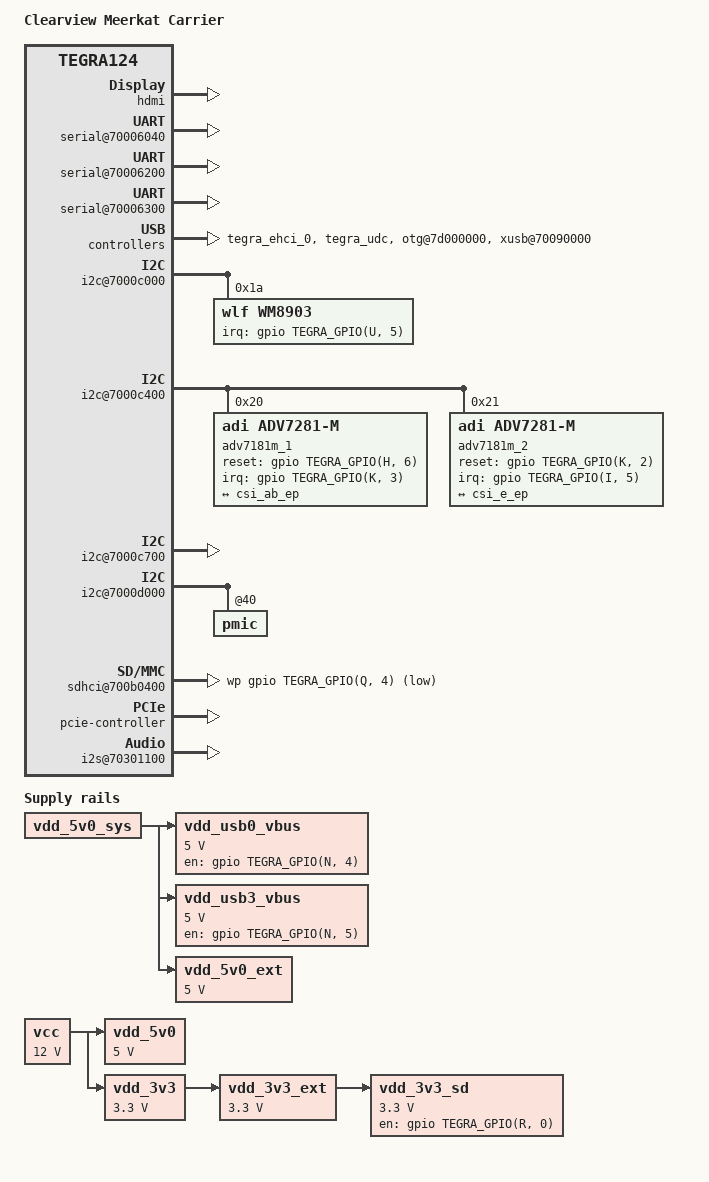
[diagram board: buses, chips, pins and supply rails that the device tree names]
/dts-v1/;

#include "tegra124-meerkat.dtsi"

/ {
	model = "Clearview Meerkat Carrier";
	compatible = "clearview,meerkat-carrier", "ad,meerkat", "nvidia,tegra124";
	nvidia,dtsfilename = __FILE__;

	pinmux {
		common {
			uart3_rxd_pw7 {
				nvidia,tristate = <TEGRA_PIN_DISABLE>;
			};

			uart3_txd_pw6 {
				nvidia,tristate = <TEGRA_PIN_DISABLE>;
			};

			/* I2S */
			dap2_din_pa4 {
				nvidia,tristate = <TEGRA_PIN_DISABLE>;
			};

			dap2_dout_pa5 {
				nvidia,tristate = <TEGRA_PIN_DISABLE>;
			};

			dap2_fs_pa2 {
				nvidia,tristate = <TEGRA_PIN_DISABLE>;
			};

			dap2_sclk_pa3 {
				nvidia,tristate = <TEGRA_PIN_DISABLE>;
			};

			/* IRQ for the ADV */
			pk3 {
				nvidia,tristate = <TEGRA_PIN_DISABLE>;
			};

			pi5 {
				nvidia,tristate = <TEGRA_PIN_DISABLE>;
			};
		};
	};

	host1x {
		vi {
			port@0 {
				csi_ab_ep: endpoint@0 {
					remote-endpoint = <&adv7181m_1_ep>;
				};
			};

			port@1 {
				csi_cd_ep: endpoint@0 {
					remote-endpoint = <&cam_csi>;
				};
			};

			port@2 {
				csi_e_ep: endpoint@0 {
					remote-endpoint = <&adv7181m_2_ep>;
				};
			};
		};

		dc@54200000 {
			status = "okay";

			nvidia,dc-connection = "external-display";
			vdd_hdmi_5v0-supply = <&vdd_5v0>;
		};

		hdmi {
			status = "okay";
		};
	};

	/* UARTB/2: RS232 (using HSUART driver) */
	serial@70006040 {
		compatible = "nvidia,tegra114-hsuart", "nvidia,tegra30-hsuart";
		status = "okay";
	};

	/* UARTC/3: RS422 (using HSUART driver) */
	serial@70006200 {
		compatible = "nvidia,tegra114-hsuart", "nvidia,tegra30-hsuart";
		status = "okay";
	};

	/* UARTD/4: Debug */
	serial@70006300 {
		status = "okay";
	};

	/* Recovery USB */
	tegra_ehci_0: usb@7d000000 {
		status = "okay";
		nvidia,port-otg;

		nvidia,remote-wakeup-supported;
		nvidia,power-off-on-suspend;

		usb_vbus-supply = <&vdd_usb0_vbus>;
	};

	tegra_udc: udc@7d000000 {
		status = "okay";

		usb_vbus-supply = <&vdd_usb0_vbus>;
	};

	otg@7d000000 {
		status = "okay";

		usb_vbus-supply = <&vdd_usb0_vbus>;
	};

	/* USB 3.0 */
	xusb@70090000 {
		status = "okay";
		nvidia,gpio_ss1_sata = <0>;
		nvidia,portmap = <(XUSB_MUX_USB2_P1 | XUSB_MUX_SS_P0)>;
		nvidia,ss_portmap = <XUSB_PADCTL_SS_PORTMAP(P1, DISABLE)>;
		nvidia,lane_owner = <1>; /* PCIe lane0 owner = USB3_SS port0 */
		nvidia,ulpicap = <0>;
		usb_vbus1-supply = <&vdd_usb3_vbus>;
	};

	i2c@7000c000 {
		status = "okay";

		wm8903: wm8903@1a {
			compatible = "wlf,wm8903";
			reg = <0x1a>;
			interrupt-parent = <&gpio>;
			interrupts = <TEGRA_GPIO(U, 5) IRQ_TYPE_LEVEL_HIGH>;

			gpio-controller;
			#gpio-cells = <2>;

			micdet-cfg = <0>;
			micdet-delay = <100>;
		};
	};

	/* GEN2 */
	i2c@7000c400 {
		status = "okay";

		camera@10 {
			compatible = "sony,imx219";
			status = "disabled";
			reg = <0x10>;

			vdd-supply = <&vdd_3v3_ext>;

			reset-gpio = <&gpio TEGRA_GPIO(H, 4) GPIO_ACTIVE_LOW>;

			port {
				cam_csi: endpoint {
					remote-endpoint = <&csi_cd_ep>;
				};
			};
		};

		adv7181m_1: camera@20 {
			compatible = "adi,adv7281-m";
			reg = <0x20 0x40>;

			interrupt-parent = <&gpio>;
			interrupts = <TEGRA_GPIO(K, 3) IRQ_TYPE_LEVEL_LOW>;

			reset-gpio = <&gpio TEGRA_GPIO(H, 6) GPIO_ACTIVE_HIGH>;

			port {
				adv7181m_1_ep: endpoint {
					remote-endpoint = <&csi_ab_ep>;
				};
			};
		};

		adv7181m_2: camera@21 {
			compatible = "adi,adv7281-m";
			reg = <0x21 0x42>;

			interrupt-parent = <&gpio>;
			interrupts = <TEGRA_GPIO(I, 5) IRQ_TYPE_LEVEL_LOW>;

			reset-gpio = <&gpio TEGRA_GPIO(K, 2) GPIO_ACTIVE_HIGH>;

			port {
				adv7181m_2_ep: endpoint {
					remote-endpoint = <&csi_e_ep>;
				};
			};
		};
	};

	/* HDMI DDC */
	i2c@7000c700 {
		status = "okay";
	};

	i2c@7000d000 {
		pmic@40 {
			ams,backup-battery-chargable;
			ams,battery-backup-charge-voltage = <AS3722_BBVOLT_3_0V>;
			ams,battery-backup-charge-current = <AS3722_BBCCUR_50UA>;
			ams,battery-backup-enable-bypass;
			ams,battery-backup-charge-mode = <AS3722_BBCMODE_ACT_STBY_OFF>;
		};
	};

	hda@70030000 {
		status = "okay";
	};

	/* MMC card slot */
	sdhci@700b0400 {
		status = "okay";
		wp-gpios = <&gpio TEGRA_GPIO(Q, 4) GPIO_ACTIVE_LOW>;
		vddio_sd_slot-supply = <&vdd_3v3_sd>;
	};

	pcie-controller {
		status = "okay";
		nvidia,port0_status = <1>;
		nvidia,port1_status = <1>;
		nvidia,lanes = <TEGRA_PCIE_LANES_X2_X1>;
	};

	avp-audio {
		compatible = "nvidia,tegra124-avp-audio", "nvidia,tegra30-avp-audio";
	};

	audio-offload {
		compatible = "nvidia,tegra-offload";
	};

	ahub {
		status = "okay";
		i2s@70301100 {
			status = "okay";
		};
	};

	sound {
		compatible = "ad,tegra-audio-wm8903-medcom-wide",
			     "nvidia,tegra-audio-wm8903";
		nvidia,model = "Avionic Design Meerkat WM8903";

		nvidia,audio-routing =
			"Headphone Jack", "HPOUTR",
			"Headphone Jack", "HPOUTL",
			"IN3L", "Mic Jack",
			"IN3R", "Mic Jack";

		nvidia,memory-clients = <SWGID_PPCS>;
		nvidia,i2s-controller = <&tegra_i2s1>;
		nvidia,i2s-is-master;
		nvidia,audio-codec = <&wm8903>;
	};

	regulators {
		vcc: regulator@100 {
			compatible = "regulator-fixed";
			reg = <100>;
			regulator-name = "VCC";
			regulator-min-microvolt = <12000000>;
			regulator-max-microvolt = <12000000>;
			regulator-always-on;
			regulator-boot-on;
		};

		vdd_5v0: regulator@101 {
			compatible = "regulator-fixed";
			reg = <101>;
			regulator-name = "+VDD_5V";
			regulator-min-microvolt = <5000000>;
			regulator-max-microvolt = <5000000>;
			regulator-always-on;
			regulator-boot-on;
			vin-supply = <&vcc>;
		};

		vdd_3v3: regulator@102 {
			compatible = "regulator-fixed";
			reg = <102>;
			regulator-name = "+VDD_3V3";
			regulator-min-microvolt = <3300000>;
			regulator-max-microvolt = <3300000>;
			regulator-always-on;
			regulator-boot-on;
			vin-supply = <&vcc>;
		};

		vdd_usb0_vbus: regulator@103 {
			compatible = "regulator-fixed";
			reg = <103>;
			regulator-name = "USB0_VBUS";
			regulator-min-microvolt = <5000000>;
			regulator-max-microvolt = <5000000>;
			gpio = <&gpio TEGRA_GPIO(N, 4) GPIO_ACTIVE_HIGH>;
			enable-active-high;
			gpio-open-drain;
			vin-supply = <&vdd_5v0_sys>;
		};

		vdd_usb3_vbus: regulator@104 {
			compatible = "regulator-fixed";
			reg = <104>;
			regulator-name = "+USB3.0_VCC";
			regulator-min-microvolt = <5000000>;
			regulator-max-microvolt = <5000000>;
			gpio = <&gpio TEGRA_GPIO(N, 5) GPIO_ACTIVE_HIGH>;
			enable-active-high;
			gpio-open-drain;
			vin-supply = <&vdd_5v0_sys>;
		};

		vdd_5v0_ext: regulator@105 {
			compatible = "regulator-fixed";
			reg = <105>;
			regulator-name = "+5V_EXT";
			regulator-min-microvolt = <5000000>;
			regulator-max-microvolt = <5000000>;
			regulator-always-on;
			regulator-boot-on;
			vin-supply = <&vdd_5v0_sys>;
		};

		vdd_3v3_ext: regulator@106 {
			compatible = "regulator-fixed";
			reg = <106>;
			regulator-name = "+3V3_EXT";
			regulator-min-microvolt = <3300000>;
			regulator-max-microvolt = <3300000>;
			regulator-always-on;
			regulator-boot-on;
			vin-supply = <&vdd_3v3>;
		};

		vdd_3v3_sd: regulator@107 {
			compatible = "regulator-fixed";
			reg = <107>;
			regulator-name = "+3V3_SD";
			regulator-min-microvolt = <3300000>;
			regulator-max-microvolt = <3300000>;
			vin-supply = <&vdd_3v3_ext>;
			gpio = <&gpio TEGRA_GPIO(R, 0) GPIO_ACTIVE_HIGH>;
			enable-active-high;
		};

	};

	pwm-fan {
		status = "okay";
	};
};
